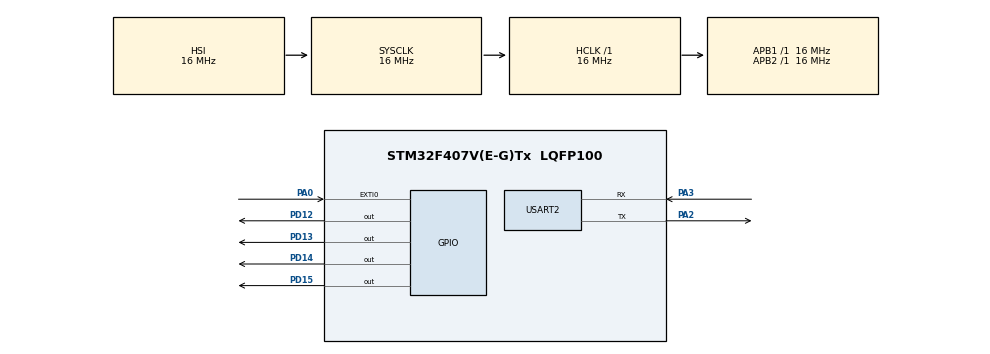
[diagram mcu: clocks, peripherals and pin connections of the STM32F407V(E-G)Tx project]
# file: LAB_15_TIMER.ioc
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FREERTOS.Tasks01=defaultTask,24,128,StartDefaultTask,Default,NULL,Dynamic,NULL,NULL;LEDTask,24,128,StartLEDTask,Default,NULL,Dynamic,NULL,NULL;BTNTask,24,128,StartBTNTask,Default,NULL,Dynamic,NULL,NULL
FREERTOS.Timers01=myTimer01,Callback01,osTimerPeriodic,Default,NULL,Dynamic,NULL
FREERTOS.configUSE_NEWLIB_REENTRANT=1
Mcu.Family=STM32F4
Mcu.Name=STM32F407V(E-G)Tx
Mcu.Package=LQFP100
NVIC.EXTI0_IRQn=true\:0\:0\:false\:false\:true\:false\:true\:true\:true
NVIC.PriorityGroup=NVIC_PRIORITYGROUP_4
NVIC.TIM1_UP_TIM10_IRQn=true\:15\:0\:false\:false\:true\:false\:false\:true\:true
NVIC.TimeBase=TIM1_UP_TIM10_IRQn
NVIC.TimeBaseIP=TIM1
PA0-WKUP.Signal=GPXTI0
PA13.Mode=Serial_Wire
PA13.Signal=SYS_JTMS-SWDIO
PA14.Mode=Serial_Wire
PA14.Signal=SYS_JTCK-SWCLK
PA2.Mode=Asynchronous
PA2.Signal=USART2_TX
PA3.Mode=Asynchronous
PA3.Signal=USART2_RX
PD12.Signal=GPIO_Output
PD13.Signal=GPIO_Output
PD14.Signal=GPIO_Output
PD15.Signal=GPIO_Output
PH0-OSC_IN.Mode=HSE-External-Oscillator
PH0-OSC_IN.Signal=RCC_OSC_IN
PH1-OSC_OUT.Mode=HSE-External-Oscillator
PH1-OSC_OUT.Signal=RCC_OSC_OUT
ProjectManager.HeapSize=0x200
ProjectManager.StackSize=0x400
ProjectManager.TargetToolchain=STM32CubeIDE
RCC.AHBFreq_Value=16000000
RCC.APB1Freq_Value=16000000
RCC.APB2Freq_Value=16000000
RCC.CortexFreq_Value=16000000
RCC.HSE_VALUE=25000000
RCC.HSI_VALUE=16000000
RCC.LSE_VALUE=32768
RCC.SYSCLKFreq_VALUE=16000000
RCC.VCOOutputFreq_Value=192000000
USART2.VirtualMode=VM_ASYNC
VP_FREERTOS_VS_CMSIS_V2.Mode=CMSIS_V2
VP_SYS_VS_tim1.Mode=TIM1
board=custom

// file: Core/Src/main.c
/* USER CODE BEGIN Header */
/**
  ******************************************************************************
  * @file           : main.c
  * @brief          : Main program body
  ******************************************************************************
  * @attention
  *
  * Copyright (c) 2024 STMicroelectronics.
  * All rights reserved.
  *
  * This software is licensed under terms that can be found in the LICENSE file
  * in the root directory of this software component.
  * If no LICENSE file comes with this software, it is provided AS-IS.
  *
  ******************************************************************************
  */
/* USER CODE END Header */
#include "main.h"
#include "cmsis_os.h"

/* USER CODE BEGIN Includes */
#include <stdarg.h>
#include <string.h>
#include <stdio.h>
/* USER CODE END Includes */

UART_HandleTypeDef huart2;

/* Definitions for defaultTask */
osThreadId_t defaultTaskHandle;
const osThreadAttr_t defaultTask_attributes =
{
  .name = "defaultTask",
  .stack_size = 128 * 4,
  .priority = (osPriority_t) osPriorityNormal,
};
/* Definitions for LEDTask */
osThreadId_t LEDTaskHandle;
const osThreadAttr_t LEDTask_attributes =
{
  .name = "LEDTask",
  .stack_size = 128 * 4,
  .priority = (osPriority_t) osPriorityNormal,
};
/* Definitions for BTNTask */
osThreadId_t BTNTaskHandle;
const osThreadAttr_t BTNTask_attributes =
{
  .name = "BTNTask",
  .stack_size = 128 * 4,
  .priority = (osPriority_t) osPriorityNormal,
};
/* Definitions for myTimer01 */
osTimerId_t myTimer01Handle;
const osTimerAttr_t myTimer01_attributes =
{
  .name = "myTimer01"
};
/* USER CODE BEGIN PV */
uint32_t 	togglePeriod 	= 1000;
uint8_t  	buttonPressed 	= 0;
uint8_t  	ledState 		= 0;
char 		uartBuffer[100];
#define 	LED_PORT GPIOD
#define 	LED1_PIN GPIO_PIN_12
#define 	LED2_PIN GPIO_PIN_13
#define 	LED3_PIN GPIO_PIN_14
#define 	LED4_PIN GPIO_PIN_15
#define 	MIN_TOGGLE_TIME 100
#define 	MAX_TOGGLE_TIME 1000
#define 	DECREMENT_STEP 	100    // Decrease by 100ms each press
/* USER CODE END PV */

void SystemClock_Config(void);
static void MX_GPIO_Init(void);
static void MX_USART2_UART_Init(void);
void StartDefaultTask(void *argument);
void StartLEDTask(void *argument);
void StartBTNTask(void *argument);
void Callback01(void *argument);

/* USER CODE BEGIN PFP */
void PrintData(const char *format, ...);
/* USER CODE END PFP */

/* USER CODE BEGIN 0 */
void PrintData(const char *format, ...)
{
    va_list args;
    va_start(args, format);
    int len = vsnprintf(uartBuffer, sizeof(uartBuffer), format, args);
    va_end(args);
    if (len > 0)
    {
        HAL_UART_Transmit(&huart2, (uint8_t*)uartBuffer, len, HAL_MAX_DELAY);
    }
}
/* USER CODE END 0 */

int main(void)
{

  /* MCU Configuration--------------------------------------------------------*/

  /* Reset of all peripherals, Initializes the Flash interface and the Systick. */
  HAL_Init();

  /* Configure the system clock */
  SystemClock_Config();

  /* Initialize all configured peripherals */
  MX_GPIO_Init();
  MX_USART2_UART_Init();
  /* USER CODE BEGIN 2 */
  PrintData("\r\n=== FreeRTOS Dynamic Timer ===\r\n");
  PrintData("Press PA0 Button To Decrease LED Toggle Time\r\n");
  PrintData("Range : 1000ms -> 100ms (Decrement By 100ms Each Press)\r\n");
  PrintData("\r\n=============================================\r\n");
  /* USER CODE END 2 */

  /* Init scheduler */
  osKernelInitialize();

  /* Create the timer(s) */
  /* creation of myTimer01 */
  myTimer01Handle = osTimerNew(Callback01, osTimerPeriodic, NULL, &myTimer01_attributes);

  /* Create the thread(s) */
  /* creation of defaultTask */
  defaultTaskHandle = osThreadNew(StartDefaultTask, NULL, &defaultTask_attributes);

  /* creation of LEDTask */
  LEDTaskHandle = osThreadNew(StartLEDTask, NULL, &LEDTask_attributes);

  /* creation of BTNTask */
  BTNTaskHandle = osThreadNew(StartBTNTask, NULL, &BTNTask_attributes);

  /* Start scheduler */
  osKernelStart();

  /* We should never get here as control is now taken by the scheduler */

  /* Infinite loop */

}

void SystemClock_Config(void)
{
  RCC_OscInitTypeDef RCC_OscInitStruct = {0};
  RCC_ClkInitTypeDef RCC_ClkInitStruct = {0};

  /** Configure the main internal regulator output voltage
  */
  __HAL_RCC_PWR_CLK_ENABLE();
  __HAL_PWR_VOLTAGESCALING_CONFIG(PWR_REGULATOR_VOLTAGE_SCALE1);

  /** Initializes the RCC Oscillators according to the specified parameters
  * in the RCC_OscInitTypeDef structure.
  */
  RCC_OscInitStruct.OscillatorType = RCC_OSCILLATORTYPE_HSI;
  RCC_OscInitStruct.HSIState = RCC_HSI_ON;
  RCC_OscInitStruct.HSICalibrationValue = RCC_HSICALIBRATION_DEFAULT;
  RCC_OscInitStruct.PLL.PLLState = RCC_PLL_NONE;
  if (HAL_RCC_OscConfig(&RCC_OscInitStruct) != HAL_OK)
  {
    Error_Handler();
  }

  /** Initializes the CPU, AHB and APB buses clocks
  */
  RCC_ClkInitStruct.ClockType = RCC_CLOCKTYPE_HCLK|RCC_CLOCKTYPE_SYSCLK
                              |RCC_CLOCKTYPE_PCLK1|RCC_CLOCKTYPE_PCLK2;
  RCC_ClkInitStruct.SYSCLKSource = RCC_SYSCLKSOURCE_HSI;
  RCC_ClkInitStruct.AHBCLKDivider = RCC_SYSCLK_DIV1;
  RCC_ClkInitStruct.APB1CLKDivider = RCC_HCLK_DIV1;
  RCC_ClkInitStruct.APB2CLKDivider = RCC_HCLK_DIV1;

  if (HAL_RCC_ClockConfig(&RCC_ClkInitStruct, FLASH_LATENCY_0) != HAL_OK)
  {
    Error_Handler();
  }
}

static void MX_USART2_UART_Init(void)
{

  huart2.Instance = USART2;
  huart2.Init.BaudRate = 115200;
  huart2.Init.WordLength = UART_WORDLENGTH_8B;
  huart2.Init.StopBits = UART_STOPBITS_1;
  huart2.Init.Parity = UART_PARITY_NONE;
  huart2.Init.Mode = UART_MODE_TX_RX;
  huart2.Init.HwFlowCtl = UART_HWCONTROL_NONE;
  huart2.Init.OverSampling = UART_OVERSAMPLING_16;
  if (HAL_UART_Init(&huart2) != HAL_OK)
  {
    Error_Handler();
  }

}

static void MX_GPIO_Init(void)
{
  GPIO_InitTypeDef GPIO_InitStruct = {0};

  /* GPIO Ports Clock Enable */
  __HAL_RCC_GPIOH_CLK_ENABLE();
  __HAL_RCC_GPIOA_CLK_ENABLE();
  __HAL_RCC_GPIOD_CLK_ENABLE();

  /*Configure GPIO pin Output Level */
  HAL_GPIO_WritePin(GPIOD, GPIO_PIN_12|GPIO_PIN_13|GPIO_PIN_14|GPIO_PIN_15, GPIO_PIN_RESET);

  /*Configure GPIO pin : PA0 */
  GPIO_InitStruct.Pin = GPIO_PIN_0;
  GPIO_InitStruct.Mode = GPIO_MODE_IT_RISING;
  GPIO_InitStruct.Pull = GPIO_NOPULL;
  HAL_GPIO_Init(GPIOA, &GPIO_InitStruct);

  /*Configure GPIO pins : PD12 PD13 PD14 PD15 */
  GPIO_InitStruct.Pin = GPIO_PIN_12|GPIO_PIN_13|GPIO_PIN_14|GPIO_PIN_15;
  GPIO_InitStruct.Mode = GPIO_MODE_OUTPUT_PP;
  GPIO_InitStruct.Pull = GPIO_NOPULL;
  GPIO_InitStruct.Speed = GPIO_SPEED_FREQ_LOW;
  HAL_GPIO_Init(GPIOD, &GPIO_InitStruct);

  /* EXTI interrupt init*/
  HAL_NVIC_SetPriority(EXTI0_IRQn, 0, 0);
  HAL_NVIC_EnableIRQ(EXTI0_IRQn);

}

/* USER CODE BEGIN 4 */
void HAL_GPIO_EXTI_Callback(uint16_t GPIO_Pin)
{
    if (GPIO_Pin == GPIO_PIN_0)
    {
        buttonPressed = 1;
    }
}
/* USER CODE END 4 */

void StartDefaultTask(void *argument)
{
  /* USER CODE BEGIN 5 */
	PrintData("\r\n=== FreeRTOS Timer/LED Demo Started ===\r\n");
	PrintData("\r\n================================\r\n");
	for(;;)
	{
		PrintData("System Running : Current Toggle Period : %lu ms\r\n", togglePeriod);
		osDelay(5000);
	}
  /* USER CODE END 5 */
}

void StartLEDTask(void *argument)
{
  /* USER CODE BEGIN StartLEDTask */
	HAL_GPIO_WritePin(LED_PORT, LED1_PIN | LED2_PIN | LED3_PIN | LED4_PIN, GPIO_PIN_RESET);
	osTimerStart(myTimer01Handle, togglePeriod);
	PrintData("Timer Started With Period : %lu ms\r\n", togglePeriod);
	for(;;)
	{
		osDelay(1000);
	}
  /* USER CODE END StartLEDTask */
}

void StartBTNTask(void *argument)
{
  /* USER CODE BEGIN StartBTNTask */
    uint32_t lastPressTime = 0;
    PrintData("Initial Toggle Period : %lu ms\r\n", togglePeriod);
    PrintData("Press PA0 To Decrease Toggle Time (1000ms -> 100ms)\r\n");
    for(;;)
    {
        if (buttonPressed)
        {
            uint32_t currentTime = osKernelGetTickCount();
            if ((currentTime - lastPressTime) > 200)
            {
                lastPressTime = currentTime;
                if (togglePeriod > MIN_TOGGLE_TIME)
                {
                    togglePeriod -= DECREMENT_STEP;
                }
                else
                {
                    togglePeriod = MIN_TOGGLE_TIME;
                    PrintData("Minimum Toggle Time Reached : (%lu ms)\r\n", togglePeriod);
                }
                osTimerStop(myTimer01Handle);
                osTimerStart(myTimer01Handle, togglePeriod);
                PrintData("Toggle Period Decreased To : %lu ms\r\n", togglePeriod);
                HAL_GPIO_WritePin(LED_PORT, LED1_PIN, GPIO_PIN_SET);
                osDelay(50);
                HAL_GPIO_WritePin(LED_PORT, LED1_PIN, GPIO_PIN_RESET);
            }
            buttonPressed = 0; // Reset flag
        }
        osDelay(10); // Check button every 10ms
    }
  /* USER CODE END StartBTNTask */
}

/* Callback01 function */
void Callback01(void *argument)
{
  /* USER CODE BEGIN Callback01 */
    ledState = !ledState;
    if (ledState)
    {
        HAL_GPIO_WritePin(LED_PORT, LED1_PIN | LED2_PIN | LED3_PIN | LED4_PIN, GPIO_PIN_SET);
    }
    else
    {
        HAL_GPIO_WritePin(LED_PORT, LED1_PIN | LED2_PIN | LED3_PIN | LED4_PIN, GPIO_PIN_RESET);
    }
  /* USER CODE END Callback01 */
}

void HAL_TIM_PeriodElapsedCallback(TIM_HandleTypeDef *htim)
{
  if (htim->Instance == TIM1) {
    HAL_IncTick();
  }
}

void Error_Handler(void)
{
}
